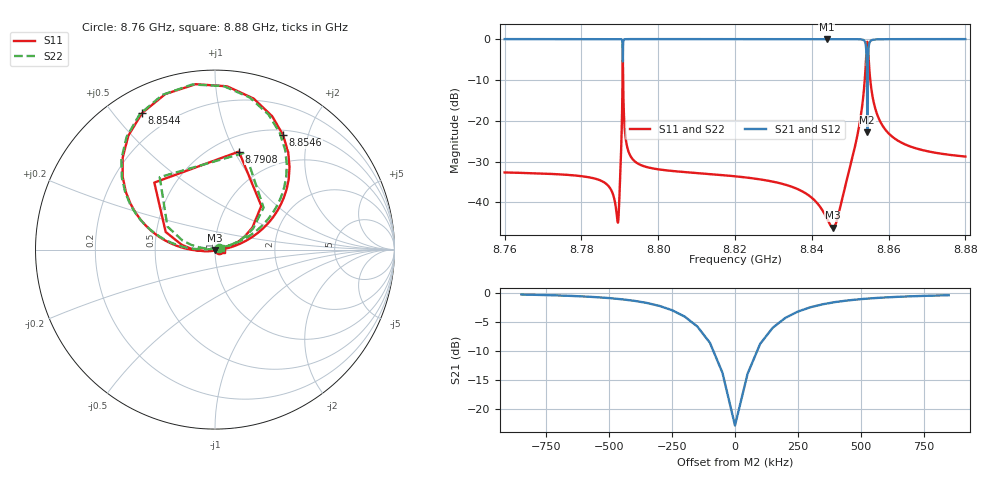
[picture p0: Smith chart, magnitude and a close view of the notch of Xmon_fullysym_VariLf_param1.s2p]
! Sonnet Data File
! From: emgraph Version : 16.52
! From Project: 171117_Xmon_fullysym
! Data is De-embedded
! Data File Written: 11/27/2017 00:27:55
!< HDATE 11/26/2017 21:47:59
!< MDATE 11/26/2017 21:47:59
!< PARAMS
!< Lj = 11.0
!< Gap = 1.0
!< Pwid = 2000.0
!< Airgap = 6.0
!< Width = 10.0
!< Lj1 = 10.62
!< END PARAMS
# GHZ S MA R 50.90000
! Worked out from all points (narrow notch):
!   2401 points, 8.76 GHz to 8.88 GHz, reference 50.9 ohm
!   highest |S21| = 0.00 dB at 8.8439 GHz (marker M1); lowest = -22.9 dB at 8.8544 GHz (marker M2)
!   notch at M2: 22.9 dB deep, 147 kHz wide at half that depth
!   lowest |S11| = -46.2 dB at 8.8455 GHz (marker M3), VSWR 1.01, Z = 51 - j0.497 ohm
!   |S11| at or under -10 dB: start of sweep to 8.790707 GHz; 8.7909 GHz to 8.8538 GHz (62.92 MHz wide, 0.713 % of centre); 8.855228 GHz to end of sweep
!   |S22| runs from -46.0 to -0.6 dB; largest |S21 - S12| = 0
!   S11 on the Smith chart (normalised r, x): 8.76 GHz: 1.05, -0.00; 8.7908 GHz: 0.65, +1.04; 8.8544 GHz: 0.10, +0.60; 8.8546 GHz: 0.57, +1.61; 8.88 GHz: 1.08, +0.00
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8.76  0.02326 -3.5  0.9997 -80.6  0.9997 -80.6  0.02327 22.3
!< P1 F=8.76 Eeff=(6.44841381 -2.9796e-5) Z0=(50.9085048 1.17026e-4) R=0.0 C=0.0
!< P2 F=8.76 Eeff=(6.44841381 -2.9796e-5) Z0=(50.9085048 1.17026e-4) R=0.0 C=0.0
8.78  0.02096 -5.5  0.9998 -81.0  0.9998 -81.0  0.02096 23.6
8.78675  0.01641 -10.5  0.9998 -81.3  0.9998 -81.3  0.01644 28.1
8.7893  0.006397 -53.5  0.9997 -82.0  0.9997 -82.0  0.006846 71.3
8.7898  0.008929 -133.2  0.9994 -82.6  0.9994 -82.6  0.009652 142.7
8.7908  0.5622 76.3  0.5311 -57.3  0.5311 -57.3  0.5664 72.7
8.7931  0.03498 2.2  0.9993 -80.2  0.9993 -80.2  0.03501 17.7
8.8  0.02543 -2.3  0.9997 -80.9  0.9997 -80.9  0.02543 20.6
8.82  0.02089 -5.5  0.9998 -81.3  0.9998 -81.3  0.02089 22.9
8.84  0.0114 -18.3  0.9999 -82.1  0.9999 -82.1  0.01142 34.4
8.8439  0.006399 -43.4  0.9999 -82.5  0.9999 -82.5  0.006464 58.9
8.8455  0.004908 -83.3  0.9999 -82.7  0.9999 -82.7  0.005024 97.8
8.8506  0.03589 -167.9  0.999 -84.8  0.999 -84.8  0.03597 177.4
8.8531  0.1492 179.0  0.9864 -91.4  0.9864 -91.4  0.1493 176.4
8.85385  0.346 165.2  0.9268 -103.0  0.9268 -103.0  0.3463 164.9
8.85435  0.8627 118.1  0.3706 -140.8  0.3706 -140.8  0.8634 119.0
8.85445  0.9278 96.7  0.07182 -83.8  0.07182 -83.8  0.9285 97.9
8.85465  0.7424 59.3  0.6057 -35.1  0.6057 -35.1  0.7429 60.9
8.8551  0.3654 28.8  0.9211 -61.4  0.9211 -61.4  0.3656 31.5
8.85585  0.1943 17.0  0.9787 -71.6  0.9787 -71.6  0.1945 21.1
8.86  0.07009 6.6  0.9974 -78.8  0.9974 -78.8  0.07011 15.9
8.88  0.03644 0.5  0.9993 -81.0  0.9993 -81.0  0.03644 17.5
